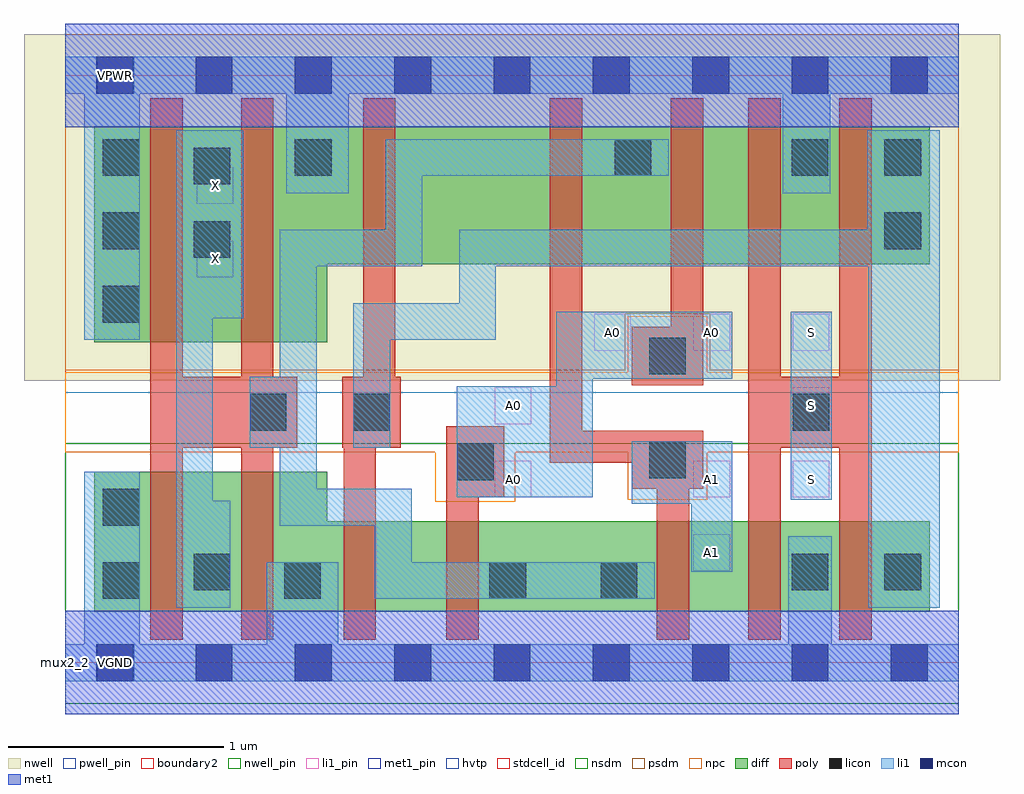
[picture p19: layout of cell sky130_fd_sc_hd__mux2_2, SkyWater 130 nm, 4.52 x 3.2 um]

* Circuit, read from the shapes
.subckt sky130_fd_sc_hd__mux2_2 A0 A1 S VGND VNB VPB VPWR X
XM1 X n1 VGND VNB sky130_fd_pr__nfet_01v8 w=0.65 l=0.15 m=2
XM2 n2 n3 VGND VNB sky130_fd_pr__nfet_01v8 w=0.42 l=0.15
XM3 n1 A0 n2 VNB sky130_fd_pr__nfet_01v8 w=0.42 l=0.15
XM4 n4 A1 n1 VNB sky130_fd_pr__nfet_01v8 w=0.42 l=0.15
XM5 VGND S n4 VNB sky130_fd_pr__nfet_01v8 w=0.42 l=0.15
XM6 n3 S VGND VNB sky130_fd_pr__nfet_01v8 w=0.42 l=0.15
XM7 X n1 VPWR VPB sky130_fd_pr__pfet_01v8_hvt w=1 l=0.15 m=2
XM8 n5 n3 VPWR VPB sky130_fd_pr__pfet_01v8_hvt w=0.64 l=0.15
XM9 n1 A1 n5 VPB sky130_fd_pr__pfet_01v8_hvt w=0.64 l=0.15
XM10 n6 A0 n1 VPB sky130_fd_pr__pfet_01v8_hvt w=0.64 l=0.15
XM11 VPWR S n6 VPB sky130_fd_pr__pfet_01v8_hvt w=0.64 l=0.15
XM12 n3 S VPWR VPB sky130_fd_pr__pfet_01v8_hvt w=0.64 l=0.15
.ends

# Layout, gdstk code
import gdstk
lib = gdstk.Library(unit=1e-6, precision=1e-09)
def R(c, l, rs):  # rectangles x0, y0, x1, y1
    for r in rs: c.add(gdstk.rectangle(r[:2], r[2:], *l))
def A(c, l, x, y, w, h, nx, ny, dx, dy):  # array of equal rectangles
    R(c, l, [(x+i*dx, y+j*dy, x+i*dx+w, y+j*dy+h) for i in range(nx) for j in range(ny)])
def P(c, l, *ps):  # polygons
    for p in ps: c.add(gdstk.Polygon(p, *l))
nwell_pin = (64, 16)
nwell = (64, 20)
diff = (65, 20)
poly = (66, 20)
licon = (66, 44)
li1_pin = (67, 16)
li1 = (67, 20)
mcon = (67, 44)
met1_pin = (68, 16)
met1 = (68, 20)
hvtp = (78, 44)
stdcell_id = (81, 4)
nsdm = (93, 44)
psdm = (94, 20)
npc = (95, 20)
pwell_pin = (122, 16)
boundary2 = (236, 0)

sky130_fd_sc_hd__mux2_2 = lib.new_cell('sky130_fd_sc_hd__mux2_2')
R(sky130_fd_sc_hd__mux2_2, nwell_pin, [(0.15,2.635,0.32,2.805)])
R(sky130_fd_sc_hd__mux2_2, nwell, [(-0.19,1.305,4.33,2.91)])
P(sky130_fd_sc_hd__mux2_2, diff, [(4.005,0.655),(1.215,0.655),(1.215,0.885),(0.135,0.885),(0.135,0.235),(4.005,0.235)],
  [(4.005,2.485),(0.135,2.485),(0.135,1.485),(1.215,1.485),(1.215,1.845),(4.005,1.845)])
P(sky130_fd_sc_hd__mux2_2, poly, [(3.735,2.615),(3.585,2.615),(3.585,1.325),(3.315,1.325),(3.315,2.615),(3.165,2.615),(3.165,0.105),(3.315,0.105),(3.315,0.995),(3.585,0.995),(3.585,0.105),(3.735,0.105)],
  [(2.955,1.075),(2.395,1.075),(2.395,2.615),(2.245,2.615),(2.245,0.925),(2.625,0.925),(2.625,0.805),(2.74,0.805),(2.74,0.105),(2.89,0.105),(2.89,0.805),(2.955,0.805)],
  [(2.955,2.615),(2.805,2.615),(2.805,1.555),(2.625,1.555),(2.625,1.285),(2.955,1.285)],
  [(2.035,1.095),(1.765,1.095),(1.765,0.105),(1.915,0.105),(1.915,0.765),(2.035,0.765)],
  [(1.555,1.325),(1.53,1.325),(1.53,2.615),(1.38,2.615),(1.38,1.325),(1.285,1.325),(1.285,0.995),(1.29,0.995),(1.29,0.105),(1.44,0.105),(1.44,0.995),(1.555,0.995)],
  [(1.075,1.325),(0.965,1.325),(0.965,2.615),(0.815,2.615),(0.815,1.325),(0.545,1.325),(0.545,2.615),(0.395,2.615),(0.395,0.105),(0.545,0.105),(0.545,0.995),(0.815,0.995),(0.815,0.105),(0.965,0.105),(0.965,0.995),(1.075,0.995)])
A(sky130_fd_sc_hd__mux2_2, licon, 0.175, 1.575, 0.17, 0.17, 1, 3, 0, 0.34)
R(sky130_fd_sc_hd__mux2_2, licon, [(0.175,0.295,0.345,0.465), (1.015,0.295,1.185,0.465), (1.965,0.295,2.135,0.465), (2.48,0.295,2.65,0.465), (0.595,0.335,0.765,0.505), (3.365,0.335,3.535,0.505), (3.795,0.335,3.965,0.505), (0.175,0.635,0.345,0.805), (1.815,0.845,1.985,1.015), (2.705,0.855,2.875,1.025), (0.855,1.075,1.025,1.245), (1.335,1.075,1.505,1.245), (3.37,1.075,3.54,1.245), (2.705,1.335,2.875,1.505), (0.595,1.875,0.765,2.045), (3.795,1.915,3.965,2.085), (0.595,2.215,0.765,2.385), (1.065,2.255,1.235,2.425), (2.545,2.255,2.715,2.425), (3.365,2.255,3.535,2.425), (3.795,2.255,3.965,2.425)])
A(sky130_fd_sc_hd__mux2_2, li1_pin, 2.45, 1.445, 0.17, 0.17, 3, 1, 0.46, 0)
R(sky130_fd_sc_hd__mux2_2, li1_pin, [(2.91,0.425,3.08,0.595), (1.99,0.765,2.16,0.935), (2.91,0.765,3.08,0.935), (3.37,0.765,3.54,0.935), (1.99,1.105,2.16,1.275), (3.37,1.105,3.54,1.275), (0.61,1.785,0.78,1.955), (0.61,2.125,0.78,2.295)])
R(sky130_fd_sc_hd__mux2_2, li1, [(3.36,0.755,3.55,1.625)])
P(sky130_fd_sc_hd__mux2_2, li1, [(3.09,1.625),(2.275,1.625),(2.275,1.28),(1.815,1.28),(1.815,0.765),(2.445,0.765),(2.445,1.315),(3.09,1.315)],
  [(3.09,1.025),(2.625,1.025),(2.625,0.735),(2.9,0.735),(2.9,0.42),(3.09,0.42)],
  [(4.14,0.085),(3.55,0.085),(3.55,0.585),(3.35,0.585),(3.35,0.085),(1.265,0.085),(1.265,0.465),(0.935,0.465),(0.935,0.085),(0.345,0.085),(0.345,0.885),(0.09,0.885),(0.09,0.085),(0,0.085),(0,-0.085),(4.14,-0.085)],
  [(4.14,2.805),(0,2.805),(0,2.635),(0.09,2.635),(0.09,1.495),(0.345,1.495),(0.345,2.635),(1.025,2.635),(1.025,2.175),(1.315,2.175),(1.315,2.635),(3.325,2.635),(3.325,2.175),(3.545,2.175),(3.545,2.635),(4.14,2.635)],
  [(4.05,2.465),(3.715,2.465),(3.715,2.005),(1.825,2.005),(1.825,1.665),(1.335,1.665),(1.335,0.995),(1.505,0.995),(1.505,1.495),(1.995,1.495),(1.995,1.835),(3.72,1.835),(3.72,0.255),(4.05,0.255)],
  [(2.795,2.425),(1.485,2.425),(1.485,2.005),(0.995,2.005),(0.995,1.325),(0.855,1.325),(0.855,0.995),(0.995,0.995),(0.995,0.635),(1.435,0.635),(1.435,0.295),(2.73,0.295),(2.73,0.465),(1.605,0.465),(1.605,0.805),(1.165,0.805),(1.165,1.835),(1.655,1.835),(1.655,2.255),(2.795,2.255)],
  [(0.825,2.465),(0.515,2.465),(0.515,0.255),(0.765,0.255),(0.765,0.75),(0.685,0.75),(0.685,1.595),(0.825,1.595)])
A(sky130_fd_sc_hd__mux2_2, mcon, 0.145, -0.085, 0.17, 0.17, 9, 2, 0.46, 2.72)
R(sky130_fd_sc_hd__mux2_2, met1_pin, [(0.15,-0.085,0.32,0.085), (0.15,2.635,0.32,2.805)])
R(sky130_fd_sc_hd__mux2_2, hvtp, [(0,1.25,4.14,2.72)])
R(sky130_fd_sc_hd__mux2_2, stdcell_id, [(0,0,4.14,2.72)])
R(sky130_fd_sc_hd__mux2_2, nsdm, [(0,-0.19,4.14,1.015)])
P(sky130_fd_sc_hd__mux2_2, psdm, [(4.14,2.91),(0,2.91),(0,1.355),(2.595,1.355),(2.595,1.615),(2.985,1.615),(2.985,1.355),(4.14,1.355)])
P(sky130_fd_sc_hd__mux2_2, npc, [(4.14,1.345),(2.975,1.345),(2.975,1.605),(2.605,1.605),(2.605,1.345),(0,1.345),(0,0.975),(1.715,0.975),(1.715,0.745),(2.085,0.745),(2.085,0.975),(2.605,0.975),(2.605,0.755),(2.975,0.755),(2.975,0.975),(4.14,0.975)])
R(sky130_fd_sc_hd__mux2_2, pwell_pin, [(0.15,-0.085,0.32,0.085)])
R(sky130_fd_sc_hd__mux2_2, boundary2, [(0,0,4.14,2.72)])
sky130_fd_sc_hd__mux2_2.add(gdstk.FlexPath([(0,2.72),(4.14,2.72)], 0.48, ends="flush", simple_path=True, layer=68, datatype=20))  # met1
sky130_fd_sc_hd__mux2_2.add(gdstk.FlexPath([(0,0),(4.14,0)], 0.48, ends="flush", simple_path=True, layer=68, datatype=20))  # met1
sky130_fd_sc_hd__mux2_2.add(gdstk.Label('VGND', (0.235,0), layer=68, texttype=5))
sky130_fd_sc_hd__mux2_2.add(gdstk.Label('VPWR', (0.235,2.72), layer=68, texttype=5))
sky130_fd_sc_hd__mux2_2.add(gdstk.Label('A1', (2.995,0.85), layer=67, texttype=5))
sky130_fd_sc_hd__mux2_2.add(gdstk.Label('A0', (2.535,1.53), layer=67, texttype=5))
sky130_fd_sc_hd__mux2_2.add(gdstk.Label('A0', (2.075,1.19), layer=67, texttype=5))
sky130_fd_sc_hd__mux2_2.add(gdstk.Label('A0', (2.075,0.85), layer=67, texttype=5))
sky130_fd_sc_hd__mux2_2.add(gdstk.Label('S', (3.455,0.85), layer=67, texttype=5))
sky130_fd_sc_hd__mux2_2.add(gdstk.Label('A1', (2.995,0.51), layer=67, texttype=5))
sky130_fd_sc_hd__mux2_2.add(gdstk.Label('X', (0.695,2.21), layer=67, texttype=5))
sky130_fd_sc_hd__mux2_2.add(gdstk.Label('X', (0.695,1.87), layer=67, texttype=5))
sky130_fd_sc_hd__mux2_2.add(gdstk.Label('A0', (2.995,1.53), layer=67, texttype=5))
sky130_fd_sc_hd__mux2_2.add(gdstk.Label('S', (3.455,1.53), layer=67, texttype=5))
sky130_fd_sc_hd__mux2_2.add(gdstk.Label('S', (3.455,1.19), layer=67, texttype=5))
sky130_fd_sc_hd__mux2_2.add(gdstk.Label('VPB', (0.235,2.72), layer=64, texttype=5))
sky130_fd_sc_hd__mux2_2.add(gdstk.Label('VNB', (0.235,0), layer=64, texttype=59))
sky130_fd_sc_hd__mux2_2.add(gdstk.Label('mux2_2', (0,0), layer=83, texttype=44))

lib.write_gds('sky130_fd_sc_hd__mux2_2.gds')
